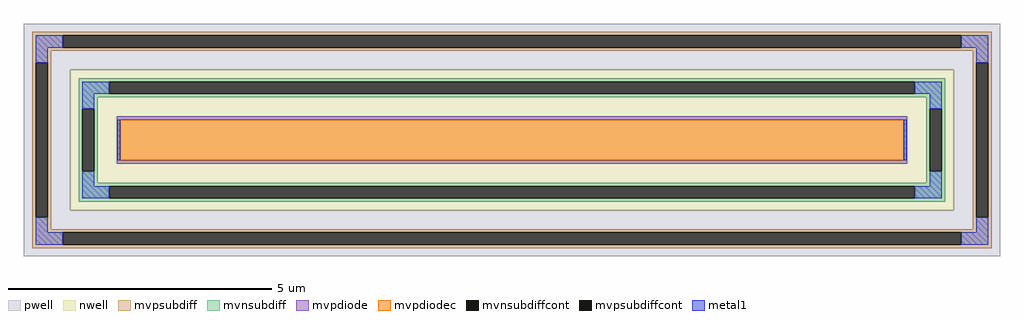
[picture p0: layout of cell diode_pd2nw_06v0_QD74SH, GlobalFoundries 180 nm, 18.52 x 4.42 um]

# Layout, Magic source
magic
tech gf180mcuD
magscale 1 10
<< nwell >>
rect -1676 -266 1676 266
<< pwell >>
rect -1852 266 1852 442
rect -1852 -266 -1676 266
rect 1676 -266 1852 266
rect -1852 -442 1852 -266
<< mvpsubdiff >>
rect -1820 397 1820 410
rect -1820 351 -1704 397
rect 1704 351 1820 397
rect -1820 338 1820 351
rect -1820 294 -1748 338
rect -1820 -294 -1807 294
rect -1761 -294 -1748 294
rect 1748 294 1820 338
rect -1820 -338 -1748 -294
rect 1748 -294 1761 294
rect 1807 -294 1820 294
rect 1748 -338 1820 -294
rect -1820 -351 1820 -338
rect -1820 -397 -1704 -351
rect 1704 -397 1820 -351
rect -1820 -410 1820 -397
<< mvnsubdiff >>
rect -1644 221 1644 234
rect -1644 175 -1528 221
rect 1528 175 1644 221
rect -1644 162 1644 175
rect -1644 118 -1572 162
rect -1644 -118 -1631 118
rect -1585 -118 -1572 118
rect 1572 118 1644 162
rect -1644 -162 -1572 -118
rect 1572 -118 1585 118
rect 1631 -118 1644 118
rect 1572 -162 1644 -118
rect -1644 -175 1644 -162
rect -1644 -221 -1528 -175
rect 1528 -221 1644 -175
rect -1644 -234 1644 -221
<< mvpsubdiffcont >>
rect -1704 351 1704 397
rect -1807 -294 -1761 294
rect 1761 -294 1807 294
rect -1704 -397 1704 -351
<< mvnsubdiffcont >>
rect -1528 175 1528 221
rect -1631 -118 -1585 118
rect 1585 -118 1631 118
rect -1528 -221 1528 -175
<< mvpdiode >>
rect -1500 77 1500 90
rect -1500 -77 -1487 77
rect 1487 -77 1500 77
rect -1500 -90 1500 -77
<< mvpdiodec >>
rect -1487 -77 1487 77
<< metal1 >>
rect -1807 351 -1704 397
rect 1704 351 1807 397
rect -1807 294 -1761 351
rect 1761 294 1807 351
rect -1631 175 -1528 221
rect 1528 175 1631 221
rect -1631 118 -1585 175
rect 1585 118 1631 175
rect -1498 -77 -1487 77
rect 1487 -77 1498 77
rect -1631 -175 -1585 -118
rect 1585 -175 1631 -118
rect -1631 -221 -1528 -175
rect 1528 -221 1631 -175
rect -1807 -351 -1761 -294
rect 1761 -351 1807 -294
rect -1807 -397 -1704 -351
rect 1704 -397 1807 -351
<< properties >>
string FIXED_BBOX -1608 -198 1608 198
string gencell diode_pd2nw_06v0
string library gf180mcu
string parameters w 15 l 0.9 area 13.5 peri 31.8 nx 1 ny 1 dummy 0 lmin 0.45 wmin 0.45 class diode elc 1 erc 1 etc 1 ebc 1 glc 1 grc 1 gtc 1 gbc 1 doverlap 0 full_metal 1 compatible {diode_pd2nw_03v3 diode_pd2nw_06v0}
<< end >>
